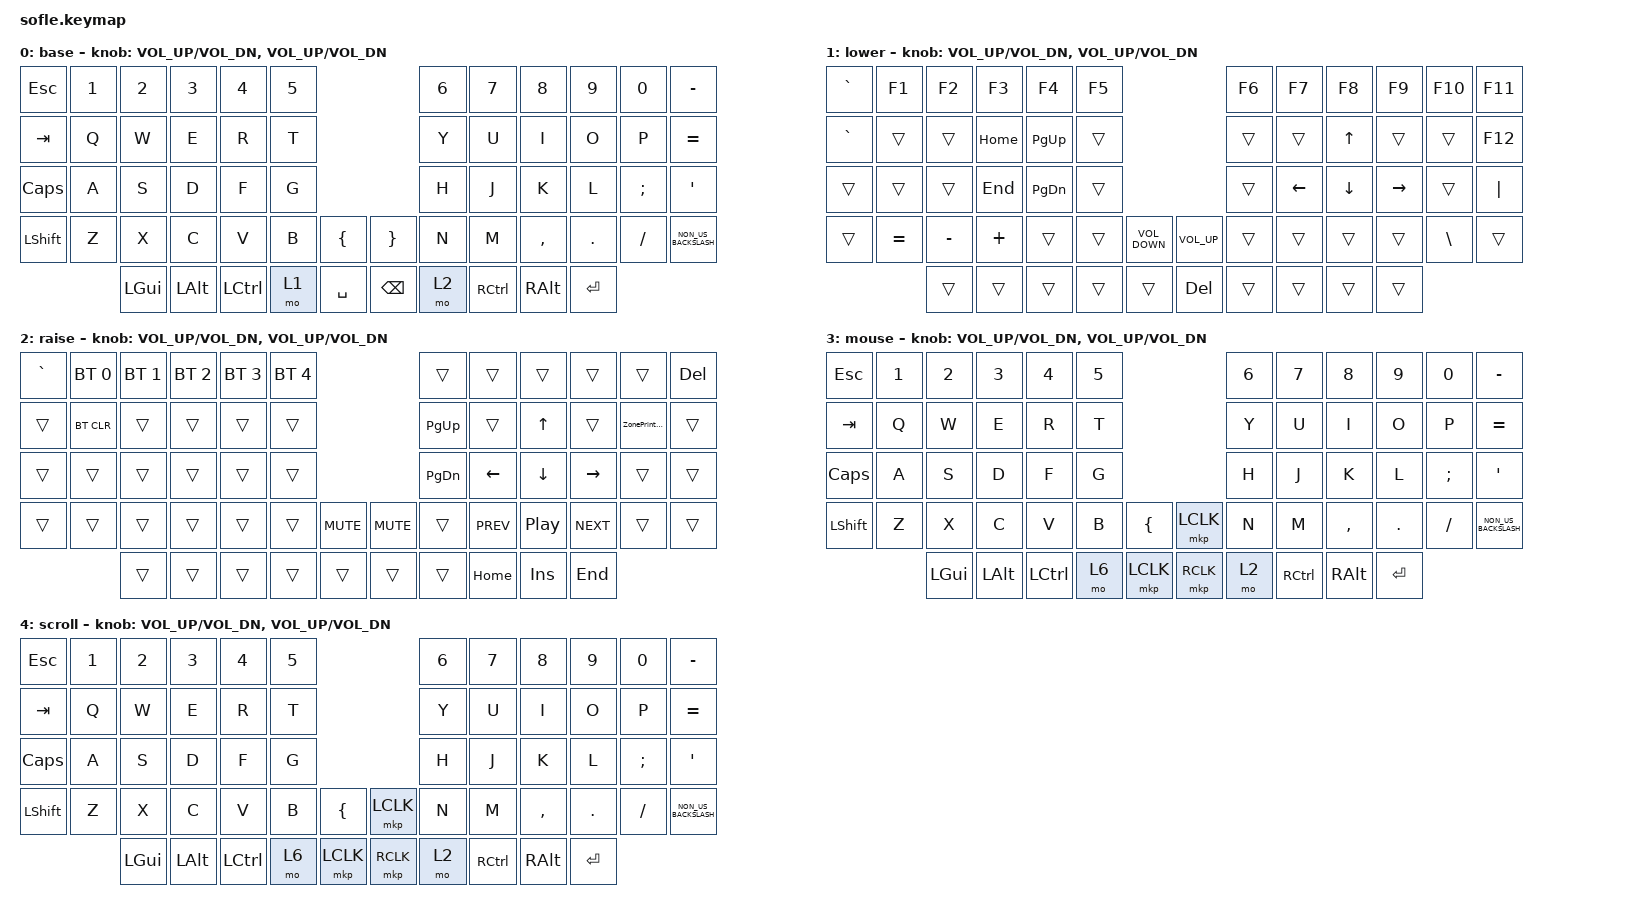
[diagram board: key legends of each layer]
// Copyright (c) 2022 The ZMK Contributors
// SPDX-License-Identifier: MIT

/*
 * ============================================================================
 * ACTIVE KEYMAP - This is the keymap actually used by the left/right halves
 * ============================================================================
 * This file overrides the shield default (config/boards/shields/atlas/atlas.keymap)
 * Edit THIS file to change your keyboard layout.
 *
 * Note: The dongle uses a separate keymap (config/boards/shields/atlas/atlas_dongle.keymap)
 * which must have matching layer definitions for mouse/scroll functionality.
 */

#include <behaviors.dtsi>
#include <dt-bindings/zmk/bt.h>
#include <dt-bindings/zmk/keys.h>
#include <dt-bindings/zmk/mouse.h>

#define BASE 0
#define LOWER 1
#define RAISE 2
#define MOUSE 3
#define SCROLL 4

&mt {
    flavor = "tap-preferred";
    tapping_term_ms = <200>;
};

&mmv {
   time-to-max-speed-ms = <680>;
   acceleration-exponent=<2>;
};


/ {
    // Activate ADJUST layer by pressing raise and lower

    conditional_layers {
        compatible = "zmk,conditional-layers";

        adjust_layer {
            if-layers = <1 2>;
            then-layer = <3>;
        };
    };

    macros {
        ZonePrintScreen: ZonePrintScreen {
            compatible = "zmk,behavior-macro";
            #binding-cells = <0>;
            bindings = <&kp LS(LG(S))>;
            label = "ZONEPRINTSCREEN";
        };
    };

    keymap {
        compatible = "zmk,keymap";

        base_layer {
            display-name = "base";
            bindings = <
&kp ESCAPE    &kp N1  &kp N2    &kp N3    &kp N4     &kp N5                                     &kp N6  &kp N7     &kp N8     &kp N9   &kp N0    &kp MINUS
&kp TAB       &kp Q   &kp W     &kp E     &kp R      &kp T                                      &kp Y   &kp U      &kp I      &kp O    &kp P     &kp EQUAL
&kp CAPSLOCK  &kp A   &kp S     &kp D     &kp F      &kp G                                      &kp H   &kp J      &kp K      &kp L    &kp SEMI  &kp SQT
&kp LSHFT     &kp Z   &kp X     &kp C     &kp V      &kp B   &kp LEFT_BRACE    &kp RIGHT_BRACE  &kp N   &kp M      &kp COMMA  &kp DOT  &kp FSLH  &kp NON_US_BACKSLASH
                      &kp LGUI  &kp LALT  &kp LCTRL  &mo 1   &kp SPACE         &kp BACKSPACE    &mo 2   &kp RCTRL  &kp RALT   &kp RET
            >;

            sensor-bindings =
                <&inc_dec_kp C_VOL_UP C_VOL_DN>,
                <&inc_dec_kp C_VOL_UP C_VOL_DN>;
        };

        lower_layer {
            display-name = "lower";
            bindings = <
&kp GRAVE  &kp F1     &kp F2     &kp F3    &kp F4         &kp F5                                        &kp F6  &kp F7          &kp F8          &kp F9           &kp F10   &kp F11
&kp GRAVE  &trans     &trans     &kp HOME  &kp PAGE_UP    &trans                                        &trans  &trans          &kp UP_ARROW    &trans           &trans    &kp F12
&trans     &trans     &trans     &kp END   &kp PAGE_DOWN  &trans                                        &trans  &kp LEFT_ARROW  &kp DOWN_ARROW  &kp RIGHT_ARROW  &trans    &kp PIPE
&trans     &kp EQUAL  &kp MINUS  &kp PLUS  &trans         &trans  &kp C_VOLUME_DOWN    &kp C_VOLUME_UP  &trans  &trans          &trans          &trans           &kp BSLH  &trans
                      &trans     &trans    &trans         &trans  &trans               &kp DELETE       &trans  &trans          &trans          &trans
            >;

            sensor-bindings =
                <&inc_dec_kp C_VOL_UP C_VOL_DN>,
                <&inc_dec_kp C_VOL_UP C_VOL_DN>;
        };

        raise_layer {
            display-name = "raise";
            bindings = <
&kp GRAVE  &bt BT_SEL 0  &bt BT_SEL 1  &bt BT_SEL 2  &bt BT_SEL 3  &bt BT_SEL 4                            &trans     &trans      &trans            &trans      &trans            &kp DELETE
&trans     &bt BT_CLR    &trans        &trans        &trans        &trans                                  &kp PG_UP  &trans      &kp UP            &trans      &ZonePrintScreen  &trans
&trans     &trans        &trans        &trans        &trans        &trans                                  &kp PG_DN  &kp LEFT    &kp DOWN          &kp RIGHT   &trans            &trans
&trans     &trans        &trans        &trans        &trans        &trans        &kp K_MUTE    &kp K_MUTE  &trans     &kp C_PREV  &kp C_PLAY_PAUSE  &kp C_NEXT  &trans            &trans
                         &trans        &trans        &trans        &trans        &trans        &trans      &trans     &kp HOME    &kp INSERT        &kp END
            >;

            sensor-bindings =
                <&inc_dec_kp C_VOL_UP C_VOL_DN>,
                <&inc_dec_kp C_VOL_UP C_VOL_DN>;
        };






                /*
                 * MOUSE LAYER (Layer 4) - Auto-activates on trackball/trackpoint movement
                 * Thumb keys become: SCROLL | LEFT CLICK | LEFT CLICK | RIGHT CLICK
                 */
                mouse_layer {
                display-name = "mouse";
                bindings = <
&kp ESCAPE    &kp N1  &kp N2    &kp N3    &kp N4     &kp N5                                &kp N6  &kp N7     &kp N8     &kp N9   &kp N0    &kp MINUS
&kp TAB       &kp Q   &kp W     &kp E     &kp R      &kp T                                 &kp Y   &kp U      &kp I      &kp O    &kp P     &kp EQUAL
&kp CAPSLOCK  &kp A   &kp S     &kp D     &kp F      &kp G                                 &kp H   &kp J      &kp K      &kp L    &kp SEMI  &kp SQT
&kp LSHFT     &kp Z   &kp X     &kp C     &kp V      &kp B   &kp LEFT_BRACE    &mkp LCLK   &kp N   &kp M      &kp COMMA  &kp DOT  &kp FSLH  &kp NON_US_BACKSLASH
                      &kp LGUI  &kp LALT  &kp LCTRL  &mo 6   &mkp LCLK         &mkp RCLK   &mo 2   &kp RCTRL  &kp RALT   &kp RET
            >;

 sensor-bindings =
                <&inc_dec_kp C_VOL_UP C_VOL_DN>,
                <&inc_dec_kp C_VOL_UP C_VOL_DN>;
                };

                /* SCROLL LAYER (Layer 5) - Hold left thumb 1 for scroll mode */
                scroll_layer {
                display-name = "scroll";
                        bindings = <
&kp ESCAPE    &kp N1  &kp N2    &kp N3    &kp N4     &kp N5                                &kp N6  &kp N7     &kp N8     &kp N9   &kp N0    &kp MINUS
&kp TAB       &kp Q   &kp W     &kp E     &kp R      &kp T                                 &kp Y   &kp U      &kp I      &kp O    &kp P     &kp EQUAL
&kp CAPSLOCK  &kp A   &kp S     &kp D     &kp F      &kp G                                 &kp H   &kp J      &kp K      &kp L    &kp SEMI  &kp SQT
&kp LSHFT     &kp Z   &kp X     &kp C     &kp V      &kp B   &kp LEFT_BRACE    &mkp LCLK   &kp N   &kp M      &kp COMMA  &kp DOT  &kp FSLH  &kp NON_US_BACKSLASH
                      &kp LGUI  &kp LALT  &kp LCTRL  &mo 6   &mkp LCLK         &mkp RCLK   &mo 2   &kp RCTRL  &kp RALT   &kp RET
            >;

 sensor-bindings =
                <&inc_dec_kp C_VOL_UP C_VOL_DN>,
                <&inc_dec_kp C_VOL_UP C_VOL_DN>;
                };
    };
};
